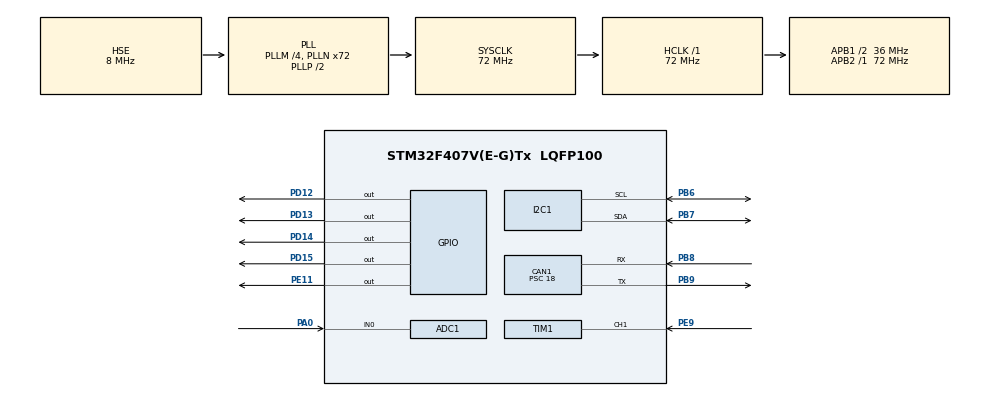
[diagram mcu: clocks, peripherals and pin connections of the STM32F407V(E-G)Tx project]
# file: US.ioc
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ADC1.Channel-0\#ChannelRegularConversion=ADC_CHANNEL_0
ADC1.NbrOfConversionFlag=1
ADC1.Rank-0\#ChannelRegularConversion=1
ADC1.SamplingTime-0\#ChannelRegularConversion=ADC_SAMPLETIME_3CYCLES
ADC1.master=1
CAN1.BS1=CAN_BS1_2TQ
CAN1.CalculateBaudRate=500000
CAN1.CalculateTimeBit=2000
CAN1.CalculateTimeQuantum=500.0
CAN1.Prescaler=18
Mcu.Family=STM32F4
Mcu.Name=STM32F407V(E-G)Tx
Mcu.Package=LQFP100
NVIC.CAN1_RX0_IRQn=true\:0\:0\:false\:false\:true\:true\:true\:true
NVIC.PriorityGroup=NVIC_PRIORITYGROUP_0
NVIC.TIM1_CC_IRQn=true\:0\:0\:false\:false\:true\:true\:true\:true
PA0-WKUP.Signal=ADCx_IN0
PA13.Mode=Serial_Wire
PA13.Signal=SYS_JTMS-SWDIO
PA14.Mode=Serial_Wire
PA14.Signal=SYS_JTCK-SWCLK
PB6.Mode=I2C
PB6.Signal=I2C1_SCL
PB7.Mode=I2C
PB7.Signal=I2C1_SDA
PB8.Mode=CAN_Activate
PB8.Signal=CAN1_RX
PB9.Mode=CAN_Activate
PB9.Signal=CAN1_TX
PD12.Signal=GPIO_Output
PD13.Signal=GPIO_Output
PD14.Signal=GPIO_Output
PD15.Signal=GPIO_Output
PE11.Signal=GPIO_Output
PE9.Signal=S_TIM1_CH1
PH0-OSC_IN.Mode=HSE-External-Oscillator
PH0-OSC_IN.Signal=RCC_OSC_IN
PH1-OSC_OUT.Mode=HSE-External-Oscillator
PH1-OSC_OUT.Signal=RCC_OSC_OUT
ProjectManager.HeapSize=0x200
ProjectManager.StackSize=0x400
ProjectManager.TargetToolchain=STM32CubeIDE
RCC.48MHZClocksFreq_Value=20571428.57142857
RCC.AHBFreq_Value=72000000
RCC.APB1CLKDivider=RCC_HCLK_DIV2
RCC.APB1Freq_Value=36000000
RCC.APB1TimFreq_Value=72000000
RCC.APB2Freq_Value=72000000
RCC.APB2TimFreq_Value=72000000
RCC.CortexFreq_Value=72000000
RCC.HCLKFreq_Value=72000000
RCC.HSE_VALUE=8000000
RCC.HSI_VALUE=16000000
RCC.LSE_VALUE=32768
RCC.PLLM=4
RCC.PLLN=72
RCC.PLLQ=7
RCC.PLLSourceVirtual=RCC_PLLSOURCE_HSE
RCC.SYSCLKFreq_VALUE=72000000
RCC.SYSCLKSource=RCC_SYSCLKSOURCE_PLLCLK
RCC.VCOOutputFreq_Value=144000000
SH.ADCx_IN0.0=ADC1_IN0,IN0
SH.S_TIM1_CH1.0=TIM1_CH1,Input_Capture1_from_TI1
TIM1.Channel-Input_Capture1_from_TI1=TIM_CHANNEL_1
TIM1.Prescaler=72-1
board=STM32F407G-DISC1

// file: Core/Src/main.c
/* USER CODE BEGIN Header */
/**
  ******************************************************************************
  * @file           : main.c
  * @brief          : Main program body
  ******************************************************************************
  * @attention
  *
  * Copyright (c) 2024 STMicroelectronics.
  * All rights reserved.
  *
  * This software is licensed under terms that can be found in the LICENSE file
  * in the root directory of this software component.
  * If no LICENSE file comes with this software, it is provided AS-IS.
  *
  ******************************************************************************
  */
/* USER CODE END Header */
#include "main.h"

/* USER CODE BEGIN Includes */
#include "i2c-lcd.h"
#include <stdio.h>
/* USER CODE END Includes */

ADC_HandleTypeDef hadc1;

CAN_HandleTypeDef hcan1;

I2C_HandleTypeDef hi2c1;

TIM_HandleTypeDef htim1;

void SystemClock_Config(void);
static void MX_GPIO_Init(void);
static void MX_I2C1_Init(void);
static void MX_TIM1_Init(void);
static void MX_ADC1_Init(void);
static void MX_CAN1_Init(void);

/* USER CODE BEGIN 0 */
CAN_TxHeaderTypeDef TxHeader;
uint8_t TxData[5];
uint32_t TxMailBox;
char str[20];
void delay (uint16_t time)
{
	__HAL_TIM_SET_COUNTER(&htim1, 0);
	while (__HAL_TIM_GET_COUNTER (&htim1) < time);
}

uint32_t IC_Val1 = 0;
uint32_t IC_Val2 = 0;
uint32_t Difference = 0;
uint8_t Is_First_Captured = 0;  // is the first value captured ?
uint8_t Distance  = 0;
uint32_t adc = 0;
float Temp = 0;

#define TRIG_PIN GPIO_PIN_11
#define TRIG_PORT GPIOE

// Let's write the callback function

void HAL_TIM_IC_CaptureCallback(TIM_HandleTypeDef *htim)
{
	if (htim->Channel == HAL_TIM_ACTIVE_CHANNEL_1)  // if the interrupt source is channel1
	{
		if (Is_First_Captured==0) // if the first value is not captured
		{
			IC_Val1 = HAL_TIM_ReadCapturedValue(htim, TIM_CHANNEL_1); // read the first value
			Is_First_Captured = 1;  // set the first captured as true
			// Now change the polarity to falling edge
			__HAL_TIM_SET_CAPTUREPOLARITY(htim, TIM_CHANNEL_1, TIM_INPUTCHANNELPOLARITY_FALLING);
		}

		else if (Is_First_Captured==1)   // if the first is already captured
		{
			IC_Val2 = HAL_TIM_ReadCapturedValue(htim, TIM_CHANNEL_1);  // read second value
			__HAL_TIM_SET_COUNTER(htim, 0);  // reset the counter

			if (IC_Val2 > IC_Val1)
			{
				Difference = IC_Val2-IC_Val1;
			}

			else if (IC_Val1 > IC_Val2)
			{
				Difference = (0xffff - IC_Val1) + IC_Val2;
			}

			Distance = Difference * .034/2;
			Is_First_Captured = 0; // set it back to false

			// set polarity to rising edge
			__HAL_TIM_SET_CAPTUREPOLARITY(htim, TIM_CHANNEL_1, TIM_INPUTCHANNELPOLARITY_RISING);
			__HAL_TIM_DISABLE_IT(&htim1, TIM_IT_CC1);
		}
	}
}

void HCSR04_Read (void)
{
	HAL_GPIO_WritePin(TRIG_PORT, TRIG_PIN, GPIO_PIN_SET);  // pull the TRIG pin HIGH
	delay(10);  // wait for 10 us
	HAL_GPIO_WritePin(TRIG_PORT, TRIG_PIN, GPIO_PIN_RESET);  // pull the TRIG pin low

	__HAL_TIM_ENABLE_IT(&htim1, TIM_IT_CC1);
}

void TempRead(void){
	HAL_ADC_Start(&hadc1);
	HAL_ADC_PollForConversion(&hadc1, HAL_MAX_DELAY);
	adc = HAL_ADC_GetValue(&hadc1);
	//if(adc != 0)
		Temp = adc / 12;
}

/* USER CODE END 0 */

int main(void)
{

  /* MCU Configuration--------------------------------------------------------*/

  /* Reset of all peripherals, Initializes the Flash interface and the Systick. */
  HAL_Init();

  /* Configure the system clock */
  SystemClock_Config();

  /* Initialize all configured peripherals */
  MX_GPIO_Init();
  MX_I2C1_Init();
  MX_TIM1_Init();
  MX_ADC1_Init();
  MX_CAN1_Init();
  /* USER CODE BEGIN 2 */
  HAL_CAN_Start(&hcan1);
  HAL_CAN_ActivateNotification(&hcan1, CAN_IT_RX_FIFO0_MSG_PENDING);
  HAL_Delay(100);
  HAL_Delay(100);

  TxHeader.DLC=3;
  TxHeader.RTR=CAN_RTR_DATA;
  TxHeader.IDE=CAN_ID_STD;
  TxHeader.ExtId=0x0;
  TxHeader.StdId=0x0AA;
  TxHeader.TransmitGlobalTime=DISABLE;
  TxData[0] = 0;

  //lcd_init();
  HAL_TIM_IC_Start_IT(&htim1, TIM_CHANNEL_1);

 // lcd_clear();
  /* USER CODE END 2 */

  /* Infinite loop */
  /* USER CODE BEGIN WHILE */
  while (1)
  {
	  //lcd_clear();
	  HCSR04_Read();
	  TempRead();
	  TxData[0] = !TxData[0];
	  TxData[1] = Temp;
	  TxData[2] = Distance;
	  if (HAL_CAN_AddTxMessage(&hcan1, &TxHeader, TxData, &TxMailBox) != HAL_OK)
	  	  		 Error_Handler();
	  HAL_GPIO_TogglePin(GPIOD, GPIO_PIN_12);
	  //
  	  /*sprintf(str, "Dist:%d",Distance);
  	  lcd_send_cmd(0x80|0x00);
  	  lcd_send_string(str);
  	  sprintf(str, "Temp:%.2f",Temp);
  	  lcd_send_cmd(0x80|0x40);
  	  lcd_send_string(str);
  	  sprintf(str, "Temp:%d",Temp);
  	  lcd_send_cmd(0x80|0x40);
  	  lcd_send_string(str);*/
  	  HAL_Delay(500);
    /* USER CODE END WHILE */

  }
}

void SystemClock_Config(void)
{
  RCC_OscInitTypeDef RCC_OscInitStruct = {0};
  RCC_ClkInitTypeDef RCC_ClkInitStruct = {0};

  /** Configure the main internal regulator output voltage
  */
  __HAL_RCC_PWR_CLK_ENABLE();
  __HAL_PWR_VOLTAGESCALING_CONFIG(PWR_REGULATOR_VOLTAGE_SCALE1);

  /** Initializes the RCC Oscillators according to the specified parameters
  * in the RCC_OscInitTypeDef structure.
  */
  RCC_OscInitStruct.OscillatorType = RCC_OSCILLATORTYPE_HSE;
  RCC_OscInitStruct.HSEState = RCC_HSE_ON;
  RCC_OscInitStruct.PLL.PLLState = RCC_PLL_ON;
  RCC_OscInitStruct.PLL.PLLSource = RCC_PLLSOURCE_HSE;
  RCC_OscInitStruct.PLL.PLLM = 4;
  RCC_OscInitStruct.PLL.PLLN = 72;
  RCC_OscInitStruct.PLL.PLLP = RCC_PLLP_DIV2;
  RCC_OscInitStruct.PLL.PLLQ = 7;
  if (HAL_RCC_OscConfig(&RCC_OscInitStruct) != HAL_OK)
  {
    Error_Handler();
  }

  /** Initializes the CPU, AHB and APB buses clocks
  */
  RCC_ClkInitStruct.ClockType = RCC_CLOCKTYPE_HCLK|RCC_CLOCKTYPE_SYSCLK
                              |RCC_CLOCKTYPE_PCLK1|RCC_CLOCKTYPE_PCLK2;
  RCC_ClkInitStruct.SYSCLKSource = RCC_SYSCLKSOURCE_PLLCLK;
  RCC_ClkInitStruct.AHBCLKDivider = RCC_SYSCLK_DIV1;
  RCC_ClkInitStruct.APB1CLKDivider = RCC_HCLK_DIV2;
  RCC_ClkInitStruct.APB2CLKDivider = RCC_HCLK_DIV1;

  if (HAL_RCC_ClockConfig(&RCC_ClkInitStruct, FLASH_LATENCY_2) != HAL_OK)
  {
    Error_Handler();
  }
}

static void MX_ADC1_Init(void)
{

  ADC_ChannelConfTypeDef sConfig = {0};

  /** Configure the global features of the ADC (Clock, Resolution, Data Alignment and number of conversion)
  */
  hadc1.Instance = ADC1;
  hadc1.Init.ClockPrescaler = ADC_CLOCK_SYNC_PCLK_DIV2;
  hadc1.Init.Resolution = ADC_RESOLUTION_12B;
  hadc1.Init.ScanConvMode = DISABLE;
  hadc1.Init.ContinuousConvMode = DISABLE;
  hadc1.Init.DiscontinuousConvMode = DISABLE;
  hadc1.Init.ExternalTrigConvEdge = ADC_EXTERNALTRIGCONVEDGE_NONE;
  hadc1.Init.ExternalTrigConv = ADC_SOFTWARE_START;
  hadc1.Init.DataAlign = ADC_DATAALIGN_RIGHT;
  hadc1.Init.NbrOfConversion = 1;
  hadc1.Init.DMAContinuousRequests = DISABLE;
  hadc1.Init.EOCSelection = ADC_EOC_SINGLE_CONV;
  if (HAL_ADC_Init(&hadc1) != HAL_OK)
  {
    Error_Handler();
  }

  /** Configure for the selected ADC regular channel its corresponding rank in the sequencer and its sample time.
  */
  sConfig.Channel = ADC_CHANNEL_0;
  sConfig.Rank = 1;
  sConfig.SamplingTime = ADC_SAMPLETIME_3CYCLES;
  if (HAL_ADC_ConfigChannel(&hadc1, &sConfig) != HAL_OK)
  {
    Error_Handler();
  }

}

static void MX_CAN1_Init(void)
{

  hcan1.Instance = CAN1;
  hcan1.Init.Prescaler = 18;
  hcan1.Init.Mode = CAN_MODE_NORMAL;
  hcan1.Init.SyncJumpWidth = CAN_SJW_1TQ;
  hcan1.Init.TimeSeg1 = CAN_BS1_2TQ;
  hcan1.Init.TimeSeg2 = CAN_BS2_1TQ;
  hcan1.Init.TimeTriggeredMode = DISABLE;
  hcan1.Init.AutoBusOff = DISABLE;
  hcan1.Init.AutoWakeUp = DISABLE;
  hcan1.Init.AutoRetransmission = DISABLE;
  hcan1.Init.ReceiveFifoLocked = DISABLE;
  hcan1.Init.TransmitFifoPriority = DISABLE;
  if (HAL_CAN_Init(&hcan1) != HAL_OK)
  {
    Error_Handler();
  }
  /* USER CODE BEGIN CAN1_Init 2 */
  CAN_FilterTypeDef canFilterConfig;
   canFilterConfig.FilterActivation=CAN_FILTER_ENABLE;
   canFilterConfig.SlaveStartFilterBank=14;
   canFilterConfig.FilterBank=2;
   canFilterConfig.FilterFIFOAssignment=CAN_RX_FIFO0;
   canFilterConfig.FilterScale=CAN_FILTERSCALE_32BIT;
   canFilterConfig.FilterMode=CAN_FILTERMODE_IDMASK;
   canFilterConfig.FilterMaskIdLow=0x0000;
   canFilterConfig.FilterMaskIdHigh=0xFF00;
   canFilterConfig.FilterIdLow=0x0000;
   canFilterConfig.FilterIdHigh=0x1500;
   HAL_CAN_ConfigFilter(&hcan1, &canFilterConfig);
  /* USER CODE END CAN1_Init 2 */

}

static void MX_I2C1_Init(void)
{

  hi2c1.Instance = I2C1;
  hi2c1.Init.ClockSpeed = 100000;
  hi2c1.Init.DutyCycle = I2C_DUTYCYCLE_2;
  hi2c1.Init.OwnAddress1 = 0;
  hi2c1.Init.AddressingMode = I2C_ADDRESSINGMODE_7BIT;
  hi2c1.Init.DualAddressMode = I2C_DUALADDRESS_DISABLE;
  hi2c1.Init.OwnAddress2 = 0;
  hi2c1.Init.GeneralCallMode = I2C_GENERALCALL_DISABLE;
  hi2c1.Init.NoStretchMode = I2C_NOSTRETCH_DISABLE;
  if (HAL_I2C_Init(&hi2c1) != HAL_OK)
  {
    Error_Handler();
  }

}

static void MX_TIM1_Init(void)
{

  TIM_MasterConfigTypeDef sMasterConfig = {0};
  TIM_IC_InitTypeDef sConfigIC = {0};

  htim1.Instance = TIM1;
  htim1.Init.Prescaler = 72-1;
  htim1.Init.CounterMode = TIM_COUNTERMODE_UP;
  htim1.Init.Period = 65535;
  htim1.Init.ClockDivision = TIM_CLOCKDIVISION_DIV1;
  htim1.Init.RepetitionCounter = 0;
  htim1.Init.AutoReloadPreload = TIM_AUTORELOAD_PRELOAD_DISABLE;
  if (HAL_TIM_IC_Init(&htim1) != HAL_OK)
  {
    Error_Handler();
  }
  sMasterConfig.MasterOutputTrigger = TIM_TRGO_RESET;
  sMasterConfig.MasterSlaveMode = TIM_MASTERSLAVEMODE_DISABLE;
  if (HAL_TIMEx_MasterConfigSynchronization(&htim1, &sMasterConfig) != HAL_OK)
  {
    Error_Handler();
  }
  sConfigIC.ICPolarity = TIM_INPUTCHANNELPOLARITY_RISING;
  sConfigIC.ICSelection = TIM_ICSELECTION_DIRECTTI;
  sConfigIC.ICPrescaler = TIM_ICPSC_DIV1;
  sConfigIC.ICFilter = 0;
  if (HAL_TIM_IC_ConfigChannel(&htim1, &sConfigIC, TIM_CHANNEL_1) != HAL_OK)
  {
    Error_Handler();
  }

}

static void MX_GPIO_Init(void)
{
  GPIO_InitTypeDef GPIO_InitStruct = {0};

  /* GPIO Ports Clock Enable */
  __HAL_RCC_GPIOH_CLK_ENABLE();
  __HAL_RCC_GPIOA_CLK_ENABLE();
  __HAL_RCC_GPIOE_CLK_ENABLE();
  __HAL_RCC_GPIOD_CLK_ENABLE();
  __HAL_RCC_GPIOB_CLK_ENABLE();

  /*Configure GPIO pin Output Level */
  HAL_GPIO_WritePin(GPIOE, GPIO_PIN_11, GPIO_PIN_RESET);

  /*Configure GPIO pin Output Level */
  HAL_GPIO_WritePin(GPIOD, GPIO_PIN_12|GPIO_PIN_13|GPIO_PIN_14|GPIO_PIN_15, GPIO_PIN_RESET);

  /*Configure GPIO pin : PE11 */
  GPIO_InitStruct.Pin = GPIO_PIN_11;
  GPIO_InitStruct.Mode = GPIO_MODE_OUTPUT_PP;
  GPIO_InitStruct.Pull = GPIO_NOPULL;
  GPIO_InitStruct.Speed = GPIO_SPEED_FREQ_LOW;
  HAL_GPIO_Init(GPIOE, &GPIO_InitStruct);

  /*Configure GPIO pins : PD12 PD13 PD14 PD15 */
  GPIO_InitStruct.Pin = GPIO_PIN_12|GPIO_PIN_13|GPIO_PIN_14|GPIO_PIN_15;
  GPIO_InitStruct.Mode = GPIO_MODE_OUTPUT_PP;
  GPIO_InitStruct.Pull = GPIO_NOPULL;
  GPIO_InitStruct.Speed = GPIO_SPEED_FREQ_LOW;
  HAL_GPIO_Init(GPIOD, &GPIO_InitStruct);

}

void Error_Handler(void)
{
  __disable_irq();
  while (1)
  {
  }
}
